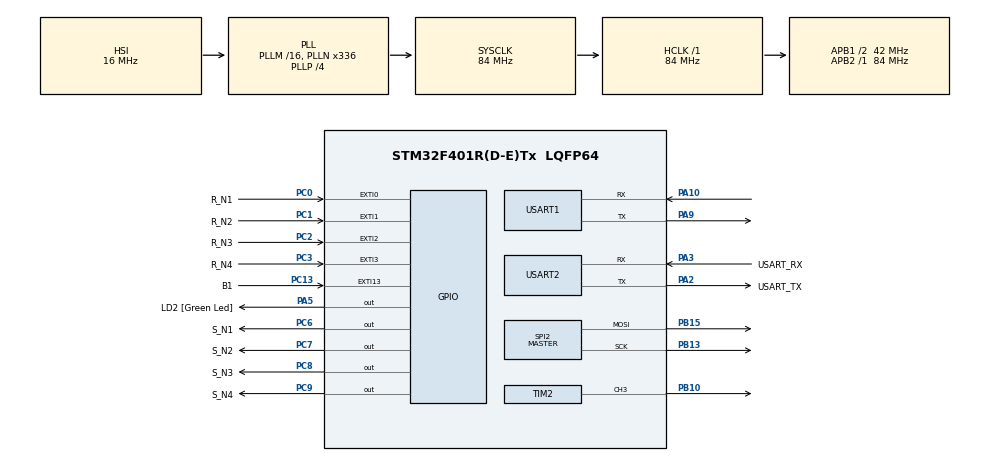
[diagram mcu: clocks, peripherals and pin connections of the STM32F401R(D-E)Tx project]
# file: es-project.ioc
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Dma.Request0=TIM2_CH3/UP
Dma.Request1=SPI2_TX
Dma.SPI2_TX.1.Direction=DMA_MEMORY_TO_PERIPH
Dma.SPI2_TX.1.FIFOMode=DMA_FIFOMODE_DISABLE
Dma.SPI2_TX.1.Instance=DMA1_Stream4
Dma.SPI2_TX.1.MemDataAlignment=DMA_MDATAALIGN_BYTE
Dma.SPI2_TX.1.MemInc=DMA_MINC_ENABLE
Dma.SPI2_TX.1.Mode=DMA_NORMAL
Dma.SPI2_TX.1.PeriphDataAlignment=DMA_PDATAALIGN_BYTE
Dma.SPI2_TX.1.PeriphInc=DMA_PINC_DISABLE
Dma.SPI2_TX.1.Priority=DMA_PRIORITY_VERY_HIGH
Dma.TIM2_CH3/UP.0.Direction=DMA_MEMORY_TO_PERIPH
Dma.TIM2_CH3/UP.0.FIFOMode=DMA_FIFOMODE_DISABLE
Dma.TIM2_CH3/UP.0.Instance=DMA1_Stream1
Dma.TIM2_CH3/UP.0.MemDataAlignment=DMA_MDATAALIGN_WORD
Dma.TIM2_CH3/UP.0.MemInc=DMA_MINC_ENABLE
Dma.TIM2_CH3/UP.0.Mode=DMA_NORMAL
Dma.TIM2_CH3/UP.0.PeriphDataAlignment=DMA_PDATAALIGN_WORD
Dma.TIM2_CH3/UP.0.PeriphInc=DMA_PINC_DISABLE
Dma.TIM2_CH3/UP.0.Priority=DMA_PRIORITY_VERY_HIGH
Mcu.Family=STM32F4
Mcu.Name=STM32F401R(D-E)Tx
Mcu.Package=LQFP64
NVIC.DMA1_Stream1_IRQn=true\:0\:0\:false\:false\:true\:false\:true\:true
NVIC.DMA1_Stream4_IRQn=true\:0\:0\:false\:false\:true\:false\:true\:true
NVIC.EXTI0_IRQn=true\:0\:0\:false\:false\:true\:true\:true\:true
NVIC.EXTI15_10_IRQn=true\:0\:0\:false\:false\:true\:true\:true\:true
NVIC.EXTI1_IRQn=true\:0\:0\:false\:false\:true\:true\:true\:true
NVIC.EXTI2_IRQn=true\:0\:0\:false\:false\:true\:true\:true\:true
NVIC.EXTI3_IRQn=true\:0\:0\:false\:false\:true\:true\:true\:true
NVIC.PriorityGroup=NVIC_PRIORITYGROUP_0
NVIC.SPI2_IRQn=true\:0\:0\:false\:false\:true\:true\:true\:true
NVIC.TIM3_IRQn=true\:0\:0\:false\:false\:true\:true\:true\:true
NVIC.USART1_IRQn=true\:0\:0\:false\:false\:true\:true\:true\:true
NVIC.USART2_IRQn=true\:0\:0\:false\:false\:true\:true\:true\:true
PA10.Mode=Asynchronous
PA10.Signal=USART1_RX
PA13.GPIO_Label=TMS
PA13.Mode=Serial_Wire
PA13.Signal=SYS_JTMS-SWDIO
PA14.GPIO_Label=TCK
PA14.Mode=Serial_Wire
PA14.Signal=SYS_JTCK-SWCLK
PA2.GPIO_Label=USART_TX
PA2.GPIO_Mode=GPIO_MODE_AF_PP
PA2.GPIO_PuPd=GPIO_NOPULL
PA2.GPIO_Speed=GPIO_SPEED_FREQ_LOW
PA2.Mode=Asynchronous
PA2.Signal=USART2_TX
PA3.GPIO_Label=USART_RX
PA3.GPIO_Mode=GPIO_MODE_AF_PP
PA3.GPIO_PuPd=GPIO_NOPULL
PA3.GPIO_Speed=GPIO_SPEED_FREQ_LOW
PA3.Mode=Asynchronous
PA3.Signal=USART2_RX
PA5.GPIO_Label=LD2 [Green Led]
PA5.GPIO_Mode=GPIO_MODE_OUTPUT_PP
PA5.GPIO_PuPd=GPIO_NOPULL
PA5.GPIO_Speed=GPIO_SPEED_FREQ_LOW
PA5.Signal=GPIO_Output
PA9.Mode=Asynchronous
PA9.Signal=USART1_TX
PB10.Signal=S_TIM2_CH3
PB13.Mode=TX_Only_Simplex_Unidirect_Master
PB13.Signal=SPI2_SCK
PB15.Mode=TX_Only_Simplex_Unidirect_Master
PB15.Signal=SPI2_MOSI
PB3.GPIO_Label=SWO
PB3.Signal=SYS_JTDO-SWO
PC0.GPIO_Label=R_N1
PC0.GPIO_PuPd=GPIO_PULLDOWN
PC0.Signal=GPXTI0
PC1.GPIO_Label=R_N2
PC1.GPIO_PuPd=GPIO_PULLDOWN
PC1.Signal=GPXTI1
PC13-ANTI_TAMP.GPIO_Label=B1
PC13-ANTI_TAMP.GPIO_ModeDefaultEXTI=GPIO_MODE_IT_FALLING
PC13-ANTI_TAMP.GPIO_PuPd=GPIO_NOPULL
PC13-ANTI_TAMP.Signal=GPXTI13
PC14-OSC32_IN.Mode=LSE-External-Oscillator
PC14-OSC32_IN.Signal=RCC_OSC32_IN
PC15-OSC32_OUT.Mode=LSE-External-Oscillator
PC15-OSC32_OUT.Signal=RCC_OSC32_OUT
PC2.GPIO_Label=R_N3
PC2.GPIO_PuPd=GPIO_PULLDOWN
PC2.Signal=GPXTI2
PC3.GPIO_Label=R_N4
PC3.GPIO_PuPd=GPIO_PULLDOWN
PC3.Signal=GPXTI3
PC6.GPIO_Label=S_N1
PC6.Signal=GPIO_Output
PC7.GPIO_Label=S_N2
PC7.Signal=GPIO_Output
PC8.GPIO_Label=S_N3
PC8.Signal=GPIO_Output
PC9.GPIO_Label=S_N4
PC9.Signal=GPIO_Output
PH0\ -\ OSC_IN.Mode=HSE-External-Oscillator
PH0\ -\ OSC_IN.Signal=RCC_OSC_IN
PH1\ -\ OSC_OUT.Mode=HSE-External-Oscillator
PH1\ -\ OSC_OUT.Signal=RCC_OSC_OUT
ProjectManager.HeapSize=0x200
ProjectManager.StackSize=0x400
ProjectManager.TargetToolchain=STM32CubeIDE
RCC.48MHZClocksFreq_Value=48000000
RCC.AHBFreq_Value=84000000
RCC.APB1CLKDivider=RCC_HCLK_DIV2
RCC.APB1Freq_Value=42000000
RCC.APB1TimFreq_Value=84000000
RCC.APB2Freq_Value=84000000
RCC.APB2TimFreq_Value=84000000
RCC.CortexFreq_Value=84000000
RCC.HCLKFreq_Value=84000000
RCC.HSE_VALUE=8000000
RCC.HSI_VALUE=16000000
RCC.PLLN=336
RCC.PLLP=RCC_PLLP_DIV4
RCC.PLLQ=7
RCC.SYSCLKFreq_VALUE=84000000
RCC.SYSCLKSource=RCC_SYSCLKSOURCE_PLLCLK
RCC.VCOOutputFreq_Value=336000000
SH.S_TIM2_CH3.0=TIM2_CH3,PWM Generation3 CH3
SPI2.BaudRatePrescaler=SPI_BAUDRATEPRESCALER_16
SPI2.Direction=SPI_DIRECTION_2LINES
SPI2.Mode=SPI_MODE_MASTER
SPI2.VirtualType=VM_MASTER
TIM2.Channel-PWM\ Generation3\ CH3=TIM_CHANNEL_3
TIM2.Period=100
TIM3.AutoReloadPreload=TIM_AUTORELOAD_PRELOAD_ENABLE
TIM3.Period=4200
TIM3.Prescaler=10000
USART1.VirtualMode=VM_ASYNC
USART2.VirtualMode=VM_ASYNC
VP_TIM2_VS_ClockSourceINT.Mode=Internal
VP_TIM3_VS_ClockSourceINT.Mode=Internal
board=NUCLEO-F401RE

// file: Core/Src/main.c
/* USER CODE BEGIN Header */
/**
  ******************************************************************************
  * @file           : main.c
  * @brief          : Main program body
  ******************************************************************************
  * @attention
  *
  * Copyright (c) 2023 STMicroelectronics.
  * All rights reserved.
  *
  * This software is licensed under terms that can be found in the LICENSE file
  * in the root directory of this software component.
  * If no LICENSE file comes with this software, it is provided AS-IS.
  *
  ******************************************************************************
  */
/* USER CODE END Header */
#include "main.h"

/* USER CODE BEGIN Includes */
#include "ws2812_SPI.h"
#include "maze.h"
#include "numbers.h"
#include "prng.h"
#include "lookup_table.h"

#include <stdbool.h>
#include <string.h>
#include <stdio.h>
/* USER CODE END Includes */

/* USER CODE BEGIN PTD */
typedef uint8_t crc;
typedef enum {FALSE, TRUE} BOOL;
enum
{
  C_BLACK,                              // do not change
  C_WHITE, C_RED, C_GREEN, C_BLUE,      // do not change
  C_CYAN, C_MAGENTA, C_YELLOW, C_BROWN, // do not change
  C_LIME, C_OLIVE, C_ORANGE, C_PINK,    // do not change
  C_PURPLE, C_TEAL, C_VIOLET, C_MAUVE,  // do not change
  C_WALL                                // add more colors as you see fit
};
/* USER CODE END PTD */

/* USER CODE BEGIN PD */
/* DEFINES */
#define MY_ADDRESS 12

# define MMCP_MASTER_ADDRESS 0
# define MMCP_VERSION 5

# define L7_PDU_size 9
# define L7_SDU_size 8
# define L7_PCI_size 1

# define L3_PDU_size 13
# define L3_SDU_size 9
# define L3_PCI_size 4

# define L2_PDU_size 14
# define L2_SDU_size 13
# define L2_PCI_size 1

# define L1_PDU_size 16
# define L1_SDU_size 14
# define L1_PCI_size 2

#define DEBOUNCE_INTERVAL 10 // button debounce time in milliseconds

// CRC defines
#define WIDTH  (8 * sizeof(crc))
#define TOPBIT (1 << (WIDTH - 1))
#define POLYNOMIAL 0x9b

/* LED stuff */
#define NEOPIXEL_ZERO 34
#define NEOPIXEL_ONE 67
#define NUM_PIXELS 8
#define DMA_BUFF_SIZE (NUM_PIXELS * 24) + 1
#define NUM_COLORS 18 // 16 pkg colors + black + wall
#define ANIMATION_DELAY_MS 60 // time in ms an animation should take // TODO: frametime
#define MAZE_WIDTH (WS2812_NUM_LEDS_X - 1)
#define MAZE_HEIGHT (WS2812_NUM_LEDS_Y - 1)

// Neighbours
// 0 if not neighbour present
#define NEIGHBOUR_ID_NORTH 0 // do not change
#define NEIGHBOUR_ID_EAST 1
#define NEIGHBOUR_ID_SOUTH 0
#define NEIGHBOUR_ID_WEST 0

// Start and exit nodes
// set to -1 for no point
#define NEIGHBOUR_NORTH_X -1
#define NEIGHBOUR_NORTH_Y -1
#define NEIGHBOUR_EAST_X 0
#define NEIGHBOUR_EAST_Y (MAZE_HEIGHT / 2)
#define NEIGHBOUR_SOUTH_X (MAZE_WIDTH / 2)
#define NEIGHBOUR_SOUTH_Y (MAZE_HEIGHT - 1)
#define NEIGHBOUR_WEST_X (MAZE_WIDTH - 1)
#define NEIGHBOUR_WEST_Y (MAZE_HEIGHT / 2)
#define STORAGE_INBOUND_X (MAZE_WIDTH / 2 - 2)
#define STORAGE_INBOUND_Y 0
#define STORAGE_OUTBOUND_X (STORAGE_INBOUND_X + 4)
#define STORAGE_OUTBOUND_Y 0

//* Packet forwarding defines *//
#define NUM_NEIGHBOURS 4
#define LAGER_SIZE 6
/* USER CODE END PD */

SPI_HandleTypeDef hspi2;
DMA_HandleTypeDef hdma_spi2_tx;

TIM_HandleTypeDef htim2;
TIM_HandleTypeDef htim3;
DMA_HandleTypeDef hdma_tim2_ch3_up;

UART_HandleTypeDef huart1;
UART_HandleTypeDef huart2;

/* USER CODE BEGIN PV */
/* GLOBALS */
uint8_t myAddress = MY_ADDRESS; // Board address

bool rx_complete = 0; // TRUE, when serial receive is complete and HAL_UART_RxCpltCallback is called
bool tx_complete = 0; // TRUE, when serial transmit is complete and HAL_UART_TxCpltCallback is called

uint8_t rx_buf[L1_PDU_size] = {0}; // receive buffer
uint8_t L1_PDU[L1_PDU_size] = {0};

uint8_t cnt = 0; // button press counter
unsigned long millis = 0; // elapsed milliseconds for button debouncing
unsigned long lastPress = 0; // time of last rising edge (button press)

/* LED stuff */
uint32_t dmaBuffer[DMA_BUFF_SIZE] = {0};
uint32_t *pBuff;
uint8_t LEDColors[17][3] = { {0, 0, 0}, {255, 255, 255},  {255, 0, 0},
		 {0, 255, 0},  {0, 0, 255},  {0, 255, 255},
		 {255, 0, 255},  {255, 255, 0},  {191, 128, 64},
		 {191, 255, 0},  {128, 128, 0},  {255, 128, 0},
		 {255, 191, 191},  {191, 0, 64},  {0, 128, 128},
		 {128, 0, 128},  {224, 176, 255} };
PixelRGB_t pixels[NUM_PIXELS] = {0};
BOOL timer_irq = FALSE; // gets set HIGH every 750ms
PixelRGB_t color[NUM_COLORS] = {
/*     B    R    G   */
    { {0,   0,   0  } }, // C_BLACK
    { {255, 255, 255} }, // C_WHITE
    { {0,   255, 0  } }, // C_RED
    { {0,   0,   255} }, // C_GREEN
    { {255, 0,   0  } }, // C_BLUE
    { {255, 0,   255} }, // C_CYAN
    { {255, 255, 0  } }, // C_MAGENTA
    { {0,   255, 255} }, // C_YELLOW
    { {64,  191, 128} }, // C_BROWN
    { {0,   191, 255} }, // C_LIME
    { {0,   128, 128} }, // C_OLIVE
    { {0,   255, 128} }, // C_ORANGE
    { {191, 255, 191} }, // C_PINK
    { {64,  191, 0  } }, // C_PURPLE
    { {128, 0,   128} }, // C_TEAL
    { {128, 128, 0  } }, // C_VIOLET
    { {128, 128, 0  } }, // C_MAUVE
    { {4,   4,   4  } }  // C_WALL
  };
PixelRGB_t darkColor[NUM_COLORS] = {
/*     B    R    G  */
  { {  0,   0,   0 } }, // C_BLACK
  { { 16,  16,  16 } }, // C_WHITE
  { {  0,  16,   0 } }, // C_RED
  { {  0,   0,  16 } }, // C_GREEN
  { { 16,   0,   0 } }, // C_BLUE
  { { 16,   0,  16 } }, // C_CYAN
  { { 16,  16,   0 } }, // C_MAGENTA
  { {  0,  16,  16 } }, // C_YELLOW
  { {  4,  12,   8 } }, // C_BROWN
  { {  0,  12,  16 } }, // C_LIME
  { {  0,   8,   8 } }, // C_OLIVE
  { {  0,  16,   8 } }, // C_ORANGE
  { { 12,  16,  12 } }, // C_PINK
  { {  4,  12,   0 } }, // C_PURPLE
  { {  8,   0,   8 } }, // C_TEAL
  { {  8,   8,   0 } }, // C_VIOLET
  { {  8,   8,   0 } }, // C_MAUVE
  { {  1,   1,   1 } }  // C_WALL
};

// Utility for ISR (not specified in SA/RT)
const uint16_t neighbourSendPins[NUM_NEIGHBOURS] = {S_N1_Pin, S_N2_Pin, S_N3_Pin, S_N4_Pin};
const uint8_t neighbourIDs[NUM_NEIGHBOURS] = {
    NEIGHBOUR_ID_NORTH,
    NEIGHBOUR_ID_EAST,
    NEIGHBOUR_ID_SOUTH,
    NEIGHBOUR_ID_WEST
}; // Input Pins are: R_N1_Pin, R_N2_Pin, R_N3_Pin, R_N4_Pin
const Point neighbourPoints[NUM_NEIGHBOURS] = {
  {NEIGHBOUR_NORTH_X, NEIGHBOUR_NORTH_Y, -1, -1},
  {NEIGHBOUR_EAST_X, NEIGHBOUR_EAST_Y, -1, -1},
  {NEIGHBOUR_SOUTH_X, NEIGHBOUR_SOUTH_Y, -1, -1},
  {NEIGHBOUR_WEST_X, NEIGHBOUR_WEST_Y, -1, -1}
};

//* Packet forwarding begin *//

// Speicher
uint8_t state;
uint8_t errorId;
uint8_t partnerId;
uint8_t packageId;
uint8_t Lager[6] = {0};
uint8_t tempLager[6] = {0};
uint8_t ApNr;

// Kontrollfluesse
BOOL receive = FALSE;
BOOL passOn = FALSE;
BOOL create = FALSE;
BOOL deliver = FALSE;
BOOL poll = FALSE;
BOOL await = FALSE;
BOOL finishedSend = FALSE;
BOOL finishedStore = FALSE;
BOOL failure = FALSE;
BOOL receivedSDU = FALSE;
BOOL GPIO_neighbour_in = FALSE;

// Zustandstyp + Zustandsvariable
typedef enum {Z_idle, Z_processing, Z_failure, Z_deliver, Z_passOn, Z_sent, Z_awaiting, Z_received} zustand_t;
zustand_t zustand;

// Aktionentyp + Aktionsvariable
typedef enum {A_idle, A_setup, A_deliver, A_passOn, A_failure, A_pulse, A_updateLager, A_await, A_create, A_handleStore, A_storeAwait, A_storeCreate, A_checkFailure} aktion_t;
aktion_t aktion;
//* Packet forwarding end *//

/* USER CODE END PV */

void SystemClock_Config(void);
static void MX_GPIO_Init(void);
static void MX_DMA_Init(void);
static void MX_USART2_UART_Init(void);
static void MX_USART1_UART_Init(void);
static void MX_TIM2_Init(void);
static void MX_TIM3_Init(void);
static void MX_SPI2_Init(void);
/* USER CODE BEGIN PFP */
void AL_UART_RxCpltCallback(UART_HandleTypeDef *huart); // TODO
void HAL_UART_TxCpltCallback(UART_HandleTypeDef *huart);
void HAL_GPIO_EXTI_Callback ( uint16_t GPIO_Pin );

void L1_receive(uint8_t L1_PDU[]);
void L2_receive(uint8_t L2_PDU[]);
void L3_receive(uint8_t L3_PDU[]);
void L7_receive(uint8_t L7_PDU[]);

void L7_send(uint8_t ApNr, uint8_t L7_SDU[]);
void L3_send(uint8_t L3_SDU[]);
void L2_send(uint8_t L2_SDU[]);
void L1_send(uint8_t L1_SDU[]);

void ApNr_42(uint8_t L7_SDU[], uint8_t L7_SDU_send[]);
void ApNr_43(uint8_t L7_SDU[], uint8_t L7_SDU_send[]);
void ApNr_50(uint8_t L7_SDU[], uint8_t L7_SDU_send[]);
void ApNr_100(uint8_t L7_SDU[], uint8_t L7_SDU_send[]);
void ApNr_101(uint8_t L7_SDU_send[]);
void ApNr_102(uint8_t L7_SDU_send[]);
void ApNr_103(uint8_t L7_SDU_send[]);

crc crcSlow(uint8_t const message[], int nBytes);

//* Packet forwarding begin *//
void stateProcessing(void);
void stateAwait(void);
void stateReceived(void);
void stateSent(void);
void stateFailure(void);
void handleStore(void);
void handleSend(void);
void updateLager(void);
void animateSend(void);
void animateReceive(void);
void animateCreate(void);
void animateDeliver(void);
void pulse(void);
void resetData(void);
//* Packet forwarding end *//

/* USER CODE END PFP */

/* USER CODE BEGIN 0 */
/* LED stuff */
void HAL_TIM_PWM_PulseFinishedCallback(TIM_HandleTypeDef *htim)
{
  HAL_TIM_PWM_Stop_DMA(htim, TIM_CHANNEL_3);
}

void writeLEDs(PixelRGB_t* pixel){
	int i,j;

	pBuff = dmaBuffer;
	  for (i = 0; i < NUM_PIXELS; i++)
	  {
		 for (j = 23; j >= 0; j--)
		 {
		   if ((pixel[i].data >> j) & 0x01)
		   {
			 *pBuff = NEOPIXEL_ONE;
		   }
		   else
		   {
			 *pBuff = NEOPIXEL_ZERO;
		   }
		   pBuff++;
	   }
	  }
	  dmaBuffer[DMA_BUFF_SIZE - 1] = 0; // last element must be 0!

	  HAL_TIM_PWM_Start_DMA(&htim2, TIM_CHANNEL_3, dmaBuffer, DMA_BUFF_SIZE);
}

void HAL_TIM_PeriodElapsedCallback(TIM_HandleTypeDef *htim){
	if(htim->Instance == TIM3){
		timer_irq = TRUE;
	}

}
//* Packet forwarding begin *//
// DFD processes //
void stateProcessing(void) {
	state = 0;
}

void stateAwait(void) {
	state = 1;
}

void stateReceived(void) {
	state = 2;
}

void stateSent(void) {
	state = 3;
}

void stateFailure(void) {
    state = 4;
}

void handleStore(void){
	int i;

	// copy Lager to tempLager
	for(i = 0; i < LAGER_SIZE; i++){
		tempLager[i] = Lager[i];
	}

	// put package in first free spot (0) in tempLager
	for(i = 0; i < LAGER_SIZE; i++){
		if(tempLager[i] == 0){
			tempLager[i] = packageId;
			break;
		}
	}

	finishedStore = TRUE;
}

void handleSend(void){
	int i;

	// copy Lager to tempLager
	for(i = 0; i < LAGER_SIZE; i++){
		tempLager[i] = Lager[i];
	}

	// delete package out of tempLager
	for(i = 0; i < LAGER_SIZE; i++){
		if(tempLager[i] == packageId){
			tempLager[i] = 0;
			break;
		}
	}

	finishedSend = TRUE;
}

void updateLager(void){
	int i;

	// copy tempLager to Lager
	for(i = 0; i < LAGER_SIZE; i++){
		Lager[i] = tempLager[i];
	}
}

void animateSend(void){
	BOOL on = FALSE;
	BOOL wait = FALSE;
    int i = 0;
	uint16_t x, y = 0;

    uint8_t startX, startY, exitX, exitY = 0;
    startX = STORAGE_OUTBOUND_X;
    startY = STORAGE_OUTBOUND_Y;

    // find partnerId in neighbourIDs to set exit
    for(i = 0; i < 4; i++){
    	if(neighbourIDs[i] == partnerId){
    		break;
    	}
    }
    exitX = neighbourPoints[i].x;
    exitY = neighbourPoints[i].y;

    // reset maze
    resetMaze(&maze, startX, startY, exitX, exitY);
    resetPath(&path);

    // generate and write maze
  	ws2812_pixel_all(&color[C_BLACK]);
    generateMaze(&maze);
	solveMaze(&maze, &path);
	for (x = 0; x < MAZE_WIDTH; x++)
	{
	  for (y = 0; y < MAZE_HEIGHT; y++)
	  {
	    if (maze.grid[y][x] == WALL) ws2812_pixel(x, y, &color[C_WALL]);
	  }
	}

	// find index of Lager, were packageId was stored
	for(i = 0; i < LAGER_SIZE; i++){
		if(Lager[i] == packageId){
			break;
		}
	}

	// turn off corresponding LED
	pixels[i+1].color.g = 0;
	pixels[i+1].color.r = 0;
	pixels[i+1].color.b = 0;
	writeLEDs(pixels);

	// blink last (outgoing) LED once
	timer_irq = FALSE;
	while(1){
		if(timer_irq && !on && !wait){
			timer_irq = FALSE;
			on = TRUE;
			pixels[7].color.g = (uint8_t)LEDColors[packageId][1]*0.1;
			pixels[7].color.r = (uint8_t)LEDColors[packageId][0]*0.1;
			pixels[7].color.b = (uint8_t)LEDColors[packageId][2]*0.1;
			writeLEDs(pixels);
		}
		if(timer_irq && on && !wait){
			timer_irq = FALSE;
			wait = TRUE;
			pixels[7].color.g = 0;
			pixels[7].color.r = 0;
			pixels[7].color.b = 0;
			writeLEDs(pixels);
		}
		if(timer_irq && wait){
			break;
		}
	}

	// display current Lager
	for(i = 0; i < LAGER_SIZE; i++){
		pixels[i+1].color.g = (uint8_t)LEDColors[tempLager[i]][1]*0.1;
		pixels[i+1].color.r = (uint8_t)LEDColors[tempLager[i]][0]*0.1;
		pixels[i+1].color.b = (uint8_t)LEDColors[tempLager[i]][2]*0.1;

	}
	writeLEDs(pixels);

    // write maze solution
    // HOTFIX: write start point at first iteration since it missing in path
    ws2812_pixel(startX, startY, &color[packageId]);
    HAL_Delay(ANIMATION_DELAY_MS);
    ws2812_pixel(startX, startY, &darkColor[packageId]);
    for (i = path.size - 1; i > -1; i--)
	{
      if (!(path.p[i].x == 0 && path.p[i].y == 0)) // (0, 0)s are invalid points for solution
      {
        ws2812_pixel(path.p[i].x, path.p[i].y, &color[packageId]); // TODO: start point is not in path
        HAL_Delay(ANIMATION_DELAY_MS);
        ws2812_pixel(path.p[i].x, path.p[i].y, &darkColor[packageId]);
      }
	}

    HAL_Delay(500);
    ws2812_pixel_all(&color[C_BLACK]);
}

void animateReceive(void){
  	BOOL on = FALSE;
	BOOL wait = FALSE;
    int i = 0;
	uint16_t x, y = 0;

    uint8_t startX, startY, exitX, exitY = 0;

    // find partnerId in neighbourIDs to set exit
    for(i = 0; i < 4; i++){
    	if(neighbourIDs[i] == partnerId){
    		break;
    	}
    }
    startX = neighbourPoints[i].x;
    startY = neighbourPoints[i].y;

    exitX = STORAGE_INBOUND_X;
    exitY = STORAGE_INBOUND_Y;

    // reset maze
    resetMaze(&maze, startX, startY, exitX, exitY);
    resetPath(&path);

    // generate and write maze
  	ws2812_pixel_all(&color[C_BLACK]);
    generateMaze(&maze);
	solveMaze(&maze, &path);
	for (x = 0; x < MAZE_WIDTH; x++)
	{
	  for (y = 0; y < MAZE_HEIGHT; y++)
	  {
	    if (maze.grid[y][x] == WALL) ws2812_pixel(x, y, &color[C_WALL]);
	  }
	}

    // write maze solution
    // HOTFIX: write start point at first iteration since it missing in path
    ws2812_pixel(startX, startY, &color[packageId]);
    HAL_Delay(ANIMATION_DELAY_MS);
    ws2812_pixel(startX, startY, &darkColor[packageId]);
    for (i = path.size - 1; i > -1; i--)
	{
      if (!(path.p[i].x == 0 && path.p[i].y == 0)) // (0, 0)s are invalid points for solution
      {
        ws2812_pixel(path.p[i].x, path.p[i].y, &color[packageId]); // TODO: start point is not in path
        HAL_Delay(ANIMATION_DELAY_MS);
        ws2812_pixel(path.p[i].x, path.p[i].y, &darkColor[packageId]);
      }
	}

	// blink first (incoming) LED once
	timer_irq = FALSE;
	while(1){
		if(timer_irq && !on && !wait){
			timer_irq = FALSE;
			on = TRUE;
			pixels[0].color.g = (uint8_t)LEDColors[packageId][1]*0.1;
			pixels[0].color.r = (uint8_t)LEDColors[packageId][0]*0.1;
			pixels[0].color.b = (uint8_t)LEDColors[packageId][2]*0.1;
			writeLEDs(pixels);
		}
		if(timer_irq && on && !wait){
			timer_irq = FALSE;
			wait = TRUE;
			pixels[0].color.g = 0;
			pixels[0].color.r = 0;
			pixels[0].color.b = 0;
			writeLEDs(pixels);
		}
		if(timer_irq && wait){
			break;
		}
	}

	// display current Lager
	for(i = 0; i < LAGER_SIZE; i++){
		pixels[i+1].color.g = (uint8_t)LEDColors[tempLager[i]][1]*0.1;
		pixels[i+1].color.r = (uint8_t)LEDColors[tempLager[i]][0]*0.1;
		pixels[i+1].color.b = (uint8_t)LEDColors[tempLager[i]][2]*0.1;
	}
	writeLEDs(pixels);

    HAL_Delay(500);
    ws2812_pixel_all(&color[C_BLACK]);
}

void animateCreate(void){
	BOOL on = FALSE;
	BOOL wait = FALSE;
	uint8_t i = 0;

	// find index of tempLager, were packageId is stored
	for(i = 0; i < LAGER_SIZE; i++){
		if(tempLager[i] == packageId){
			break;
		}
	}

	// blink corresponding LED once
	timer_irq = FALSE;
	while(1){
		if(timer_irq && !on && !wait){
			timer_irq = FALSE;
			on = TRUE;
			pixels[i+1].color.g = (uint8_t)LEDColors[packageId][1]*0.1;
			pixels[i+1].color.r = (uint8_t)LEDColors[packageId][0]*0.1;
			pixels[i+1].color.b = (uint8_t)LEDColors[packageId][2]*0.1;
			writeLEDs(pixels);
		}
		if(timer_irq && on && !wait){
			timer_irq = FALSE;
			wait = TRUE;
			pixels[i+1].color.g = 0;
			pixels[i+1].color.r = 0;
			pixels[i+1].color.b = 0;
			writeLEDs(pixels);
		}
		if(timer_irq && wait){
			break;
		}

	}

	// display current Lager
	for(i = 0; i < LAGER_SIZE; i++){
		pixels[i+1].color.g = (uint8_t)LEDColors[tempLager[i]][1]*0.1;
		pixels[i+1].color.r = (uint8_t)LEDColors[tempLager[i]][0]*0.1;
		pixels[i+1].color.b = (uint8_t)LEDColors[tempLager[i]][2]*0.1;

	}
	writeLEDs(pixels);
}

void animateDeliver(void){
	BOOL on = FALSE;
	BOOL wait = FALSE;
	uint8_t i = 0;

	// find index of Lager, were packageId was stored
	for(i = 0; i < LAGER_SIZE; i++){
		if(Lager[i] == packageId){
			break;
		}
	}

	// blink corresponding LED once
	timer_irq = FALSE;
	while(1){
		if(timer_irq && !on && !wait){
			timer_irq = FALSE;
			on = TRUE;
			pixels[i+1].color.g = (uint8_t)LEDColors[packageId][1]*0.1;
			pixels[i+1].color.r = (uint8_t)LEDColors[packageId][0]*0.1;
			pixels[i+1].color.b = (uint8_t)LEDColors[packageId][2]*0.1;
			writeLEDs(pixels);
		}
		if(timer_irq && on && !wait){
			timer_irq = FALSE;
			wait = TRUE;
			pixels[i+1].color.g = 0;
			pixels[i+1].color.r = 0;
			pixels[i+1].color.b = 0;
			writeLEDs(pixels);
		}
		if(timer_irq && wait){
			break;
		}

	}

	// display current Lager
	for(int i = 0; i < LAGER_SIZE; i++){
		pixels[i+1].color.g = (uint8_t)LEDColors[tempLager[i]][1]*0.1;
		pixels[i+1].color.r = (uint8_t)LEDColors[tempLager[i]][0]*0.1;
		pixels[i+1].color.b = (uint8_t)LEDColors[tempLager[i]][2]*0.1;

	}
	writeLEDs(pixels);
}

void pulse(void){
	uint8_t partnerNumber = 0;
	uint8_t i = 0;

	// find out number of partner
	for(i = 0; i < NUM_NEIGHBOURS; i++){
		if(neighbourIDs[i] == partnerId){
			partnerNumber = i;
			break;
		}
	}

	// toggle corresponding pin for 1ms
	HAL_GPIO_WritePin (GPIOC, neighbourSendPins[partnerNumber], GPIO_PIN_SET);
	HAL_Delay(5);
	HAL_GPIO_WritePin (GPIOC, neighbourSendPins[partnerNumber], GPIO_PIN_RESET);
}

void checkFailure(void){
	BOOL lagerFull = TRUE;
	BOOL packetInLager = FALSE;
	BOOL packetNoExist = TRUE;
	BOOL unknownNeighbour = TRUE;
	BOOL unknownPacket = FALSE;

	int i;

	// check if neighbour is known
	if(partnerId == 0){ //TODO: fixed with idle in processing, but that should not be there
		unknownNeighbour = FALSE; // neighbourId is valid
	}
	for(i = 0; i < NUM_NEIGHBOURS; i++){
		if(partnerId == neighbourIDs[i]){
			unknownNeighbour = FALSE; // neighbourId is valid
			break;
		}
	}

	if(ApNr == 42){ // create or await is set
		// check if Lager is already completely filled
		for(i = 0; i < LAGER_SIZE; i++){
			if(Lager[i] == 0){
				lagerFull = FALSE; // Lager is not completely filled
				break;
			}
		}

		packetNoExist = FALSE;
		// check if packageId is already stored in Lager
		for(i = 0; i < LAGER_SIZE; i++){
			if(Lager[i] == packageId){
				packetInLager = TRUE; // packageId already exists in Lager
				break;
			}
		}
	}

	if(ApNr == 43){ // deliver or passOn is set
		lagerFull = FALSE;

		// Check if packageId exists in Lager
		for(i = 0; i < LAGER_SIZE; i++){
			if(Lager[i] == packageId){
				packetNoExist = FALSE; // packageId does exist in Lager
			}
		}
	}

	// check if package has a valid number
	if((packageId < 0) || (packageId > 16)){
		unknownPacket = TRUE;
	}

	// set errorId according to failure
	if(packetInLager){
		failure = TRUE;
		errorId = 1;
	}
	else if(lagerFull){
		failure = TRUE;
		errorId = 2;
	}
	else if(packetNoExist){
		failure = TRUE;
		errorId = 3;
	}
	else if(unknownNeighbour){
		failure = TRUE;
		errorId = 4;
	}
	else if(unknownPacket){
		failure = TRUE;
		errorId = 5; //TODO: Minispezifikation
	}
}

void resetData(){
	packageId = 0;
	partnerId = 0;
	errorId = 0;
	receive = FALSE;
	passOn = FALSE;
	create = FALSE;
	deliver = FALSE;
	poll = FALSE;
	await = FALSE;
	ApNr = 0;
	failure = FALSE;
	finishedStore = FALSE;
	finishedSend = FALSE;
	receivedSDU = FALSE;
	GPIO_neighbour_in = FALSE;
}

// STD
void std(void){
	switch(zustand){
	case Z_idle:
		if (receivedSDU){
			aktion = A_checkFailure;
			zustand = Z_processing;
			receivedSDU = FALSE; //*
		}
		else if(poll || (!receivedSDU)){
			aktion = A_idle;
			poll = FALSE; //*
		}
		break;

	case Z_processing:
		if (create && (!failure)){ // no poll (transient state), because processing + packageId should only be reported in modes passOn and deliver
			aktion = A_create;
			zustand = Z_awaiting;
			poll = FALSE; //*
		}
		else if (await && (!failure)){ // no poll (transient state), because processing + packageId should only be reported in modes passOn and deliver
			aktion = A_await;
			zustand = Z_awaiting;
			poll = FALSE; //*
		}
		else if (deliver && (!failure)){
			aktion = A_deliver;
			zustand = Z_deliver;
		}
		else if (passOn && (!failure)){
			aktion = A_passOn;
			zustand = Z_passOn;
		}
		else if (failure){
			aktion = A_failure;
			zustand = Z_failure;
			poll = FALSE; //*
		}
		break;

	case Z_failure:
		if(poll){
			aktion = A_setup;
			zustand = Z_idle;
			poll = FALSE; //*
		}
		break;

	case Z_deliver:
		if (poll && finishedSend){
			aktion = A_updateLager;
			zustand = Z_sent;
			poll = FALSE; //*
		}
		break;

	case Z_passOn:
		if (poll && finishedSend){
			aktion = A_pulse;
			zustand = Z_sent;
			poll = FALSE; //*
		}
		break;

	case Z_sent:
		if (poll){
			aktion = A_setup;
			zustand = Z_idle;
			poll = FALSE; //*
		}
		break;

	case Z_awaiting: // TODO: no GPIO needed for going from awating to send?? maybe something to do with pull up, but it used to work?
		if (GPIO_neighbour_in && await && !finishedStore){ //TODO: SA/RT finished store
			aktion = A_handleStore;
			GPIO_neighbour_in = FALSE; //*
		}
		else if (poll && finishedStore && await){
			aktion = A_storeAwait;
			zustand = Z_received;
			poll = FALSE; //*
		}
		else if (poll && finishedStore && create){ //else if (poll && finishedStore && create && count	){
			aktion = A_storeCreate;
			zustand = Z_received;
			poll = FALSE; //*
			//count = FALSE;
		}
		break;

	case Z_received:
		if (poll){
			aktion = A_setup;
			zustand = Z_idle;
			poll = FALSE; //*
		}
		else if(!poll){
			aktion = A_idle; //*
		}
		break;
	}
}

//* Kontrollflüsse werden im Interrupt gesetzt und müssen deshalb hier zurückgesetzt werden

// PAT
void pat(void){
	switch(aktion){
	case A_setup:
		resetData(); // TODO: SA/RT
		stateProcessing();
		break;
	case A_deliver: // TODO: A_deliver and A_passOn are identical
		stateProcessing();
		handleSend();
		break;
	case A_passOn:
		stateProcessing();
		handleSend();
		break;
	case A_failure:
		stateFailure();
		break;
	case A_pulse:
		animateSend();
		//HAL_Delay(3000);
		//PixelRGB_t pixel;
		//// Access the members through the color struct
		//pixel.color.r = 0;
		//pixel.color.g = 20;
		//pixel.color.b = 20;
		pulse();
		//ws2812_pixel_all(&pixel);
		//HAL_Delay(1000);
		updateLager();
		stateSent();
		break;
	case A_updateLager:
		animateDeliver();
		updateLager();
		stateSent();
		break;
	case A_await:
		stateAwait();
		break;
	case A_create:
		stateAwait();
		handleStore();
		break;
	case A_handleStore:
		handleStore();
		break;
	case A_storeAwait:
		animateReceive();
		updateLager();
		stateReceived();
		break;
	case A_storeCreate:
		animateCreate();
		updateLager();
		stateReceived();
		break;
	case A_checkFailure:
		checkFailure();
		stateProcessing();
		break;

	case A_idle:
		break;
	}
}
//* Packet forwarding end *//
/* USER CODE END 0 */

int main(void)
{

  /* MCU Configuration--------------------------------------------------------*/

  /* Reset of all peripherals, Initializes the Flash interface and the Systick. */
  HAL_Init();

  /* Configure the system clock */
  SystemClock_Config();

  /* Initialize all configured peripherals */
  MX_GPIO_Init();
  MX_DMA_Init();
  MX_USART2_UART_Init();
  MX_USART1_UART_Init();
  MX_TIM2_Init();
  MX_TIM3_Init();
  MX_SPI2_Init();
  /* USER CODE BEGIN 2 */
	HAL_UART_Receive_IT(&huart1, rx_buf, L1_PDU_size);
    HAL_TIM_Base_Start_IT(&htim3);
    ws2812_init();
    initMaze(&maze, MAZE_HEIGHT, MAZE_WIDTH, 1, 0, MAZE_WIDTH - 2, MAZE_HEIGHT - 1);
    initPath(&path, MAZE_WIDTH * MAZE_HEIGHT);
    initPRNG(&rng, numbers, SIZE_NUMBERS);
    initLookupTable(&lookupTable, WS2812_NUM_LEDS_Y, WS2812_NUM_LEDS_X);
	// Reset LEDs
	for(int i = 0; i < NUM_PIXELS; i++){
		pixels[i].color.g = 0;
		pixels[i].color.r = 0;
		pixels[i].color.b = 0;
	}
	writeLEDs(pixels);
	// Zustandsuebergangsdiagramm reset
	zustand = Z_idle;
	aktion = A_idle;
	pat();
  /* USER CODE END 2 */

  /* Infinite loop */
	while (1)
	{

    /* USER CODE BEGIN 3 */
	  std();
	  pat();
	}
  /* USER CODE END 3 */
}

void SystemClock_Config(void)
{
  RCC_OscInitTypeDef RCC_OscInitStruct = {0};
  RCC_ClkInitTypeDef RCC_ClkInitStruct = {0};

  /** Configure the main internal regulator output voltage
  */
  __HAL_RCC_PWR_CLK_ENABLE();
  __HAL_PWR_VOLTAGESCALING_CONFIG(PWR_REGULATOR_VOLTAGE_SCALE2);

  /** Initializes the RCC Oscillators according to the specified parameters
  * in the RCC_OscInitTypeDef structure.
  */
  RCC_OscInitStruct.OscillatorType = RCC_OSCILLATORTYPE_HSI;
  RCC_OscInitStruct.HSIState = RCC_HSI_ON;
  RCC_OscInitStruct.HSICalibrationValue = RCC_HSICALIBRATION_DEFAULT;
  RCC_OscInitStruct.PLL.PLLState = RCC_PLL_ON;
  RCC_OscInitStruct.PLL.PLLSource = RCC_PLLSOURCE_HSI;
  RCC_OscInitStruct.PLL.PLLM = 16;
  RCC_OscInitStruct.PLL.PLLN = 336;
  RCC_OscInitStruct.PLL.PLLP = RCC_PLLP_DIV4;
  RCC_OscInitStruct.PLL.PLLQ = 7;
  if (HAL_RCC_OscConfig(&RCC_OscInitStruct) != HAL_OK)
  {
    Error_Handler();
  }

  /** Initializes the CPU, AHB and APB buses clocks
  */
  RCC_ClkInitStruct.ClockType = RCC_CLOCKTYPE_HCLK|RCC_CLOCKTYPE_SYSCLK
                              |RCC_CLOCKTYPE_PCLK1|RCC_CLOCKTYPE_PCLK2;
  RCC_ClkInitStruct.SYSCLKSource = RCC_SYSCLKSOURCE_PLLCLK;
  RCC_ClkInitStruct.AHBCLKDivider = RCC_SYSCLK_DIV1;
  RCC_ClkInitStruct.APB1CLKDivider = RCC_HCLK_DIV2;
  RCC_ClkInitStruct.APB2CLKDivider = RCC_HCLK_DIV1;

  if (HAL_RCC_ClockConfig(&RCC_ClkInitStruct, FLASH_LATENCY_2) != HAL_OK)
  {
    Error_Handler();
  }
}

static void MX_SPI2_Init(void)
{

  /* SPI2 parameter configuration*/
  hspi2.Instance = SPI2;
  hspi2.Init.Mode = SPI_MODE_MASTER;
  hspi2.Init.Direction = SPI_DIRECTION_2LINES;
  hspi2.Init.DataSize = SPI_DATASIZE_8BIT;
  hspi2.Init.CLKPolarity = SPI_POLARITY_LOW;
  hspi2.Init.CLKPhase = SPI_PHASE_1EDGE;
  hspi2.Init.NSS = SPI_NSS_SOFT;
  hspi2.Init.BaudRatePrescaler = SPI_BAUDRATEPRESCALER_16;
  hspi2.Init.FirstBit = SPI_FIRSTBIT_MSB;
  hspi2.Init.TIMode = SPI_TIMODE_DISABLE;
  hspi2.Init.CRCCalculation = SPI_CRCCALCULATION_DISABLE;
  hspi2.Init.CRCPolynomial = 10;
  if (HAL_SPI_Init(&hspi2) != HAL_OK)
  {
    Error_Handler();
  }

}

static void MX_TIM2_Init(void)
{

  TIM_ClockConfigTypeDef sClockSourceConfig = {0};
  TIM_MasterConfigTypeDef sMasterConfig = {0};
  TIM_OC_InitTypeDef sConfigOC = {0};

  htim2.Instance = TIM2;
  htim2.Init.Prescaler = 0;
  htim2.Init.CounterMode = TIM_COUNTERMODE_UP;
  htim2.Init.Period = 100;
  htim2.Init.ClockDivision = TIM_CLOCKDIVISION_DIV1;
  htim2.Init.AutoReloadPreload = TIM_AUTORELOAD_PRELOAD_DISABLE;
  if (HAL_TIM_Base_Init(&htim2) != HAL_OK)
  {
    Error_Handler();
  }
  sClockSourceConfig.ClockSource = TIM_CLOCKSOURCE_INTERNAL;
  if (HAL_TIM_ConfigClockSource(&htim2, &sClockSourceConfig) != HAL_OK)
  {
    Error_Handler();
  }
  if (HAL_TIM_PWM_Init(&htim2) != HAL_OK)
  {
    Error_Handler();
  }
  sMasterConfig.MasterOutputTrigger = TIM_TRGO_RESET;
  sMasterConfig.MasterSlaveMode = TIM_MASTERSLAVEMODE_DISABLE;
  if (HAL_TIMEx_MasterConfigSynchronization(&htim2, &sMasterConfig) != HAL_OK)
  {
    Error_Handler();
  }
  sConfigOC.OCMode = TIM_OCMODE_PWM1;
  sConfigOC.Pulse = 0;
  sConfigOC.OCPolarity = TIM_OCPOLARITY_HIGH;
  sConfigOC.OCFastMode = TIM_OCFAST_DISABLE;
  if (HAL_TIM_PWM_ConfigChannel(&htim2, &sConfigOC, TIM_CHANNEL_3) != HAL_OK)
  {
    Error_Handler();
  }
  HAL_TIM_MspPostInit(&htim2);

}

static void MX_TIM3_Init(void)
{

  TIM_ClockConfigTypeDef sClockSourceConfig = {0};
  TIM_MasterConfigTypeDef sMasterConfig = {0};

  htim3.Instance = TIM3;
  htim3.Init.Prescaler = 10000;
  htim3.Init.CounterMode = TIM_COUNTERMODE_UP;
  htim3.Init.Period = 4200;
  htim3.Init.ClockDivision = TIM_CLOCKDIVISION_DIV1;
  htim3.Init.AutoReloadPreload = TIM_AUTORELOAD_PRELOAD_ENABLE;
  if (HAL_TIM_Base_Init(&htim3) != HAL_OK)
  {
    Error_Handler();
  }
  sClockSourceConfig.ClockSource = TIM_CLOCKSOURCE_INTERNAL;
  if (HAL_TIM_ConfigClockSource(&htim3, &sClockSourceConfig) != HAL_OK)
  {
    Error_Handler();
  }
  sMasterConfig.MasterOutputTrigger = TIM_TRGO_RESET;
  sMasterConfig.MasterSlaveMode = TIM_MASTERSLAVEMODE_DISABLE;
  if (HAL_TIMEx_MasterConfigSynchronization(&htim3, &sMasterConfig) != HAL_OK)
  {
    Error_Handler();
  }

}

static void MX_USART1_UART_Init(void)
{

  huart1.Instance = USART1;
  huart1.Init.BaudRate = 115200;
  huart1.Init.WordLength = UART_WORDLENGTH_8B;
  huart1.Init.StopBits = UART_STOPBITS_1;
  huart1.Init.Parity = UART_PARITY_NONE;
  huart1.Init.Mode = UART_MODE_TX_RX;
  huart1.Init.HwFlowCtl = UART_HWCONTROL_NONE;
  huart1.Init.OverSampling = UART_OVERSAMPLING_16;
  if (HAL_UART_Init(&huart1) != HAL_OK)
  {
    Error_Handler();
  }

}

static void MX_USART2_UART_Init(void)
{

  huart2.Instance = USART2;
  huart2.Init.BaudRate = 115200;
  huart2.Init.WordLength = UART_WORDLENGTH_8B;
  huart2.Init.StopBits = UART_STOPBITS_1;
  huart2.Init.Parity = UART_PARITY_NONE;
  huart2.Init.Mode = UART_MODE_TX_RX;
  huart2.Init.HwFlowCtl = UART_HWCONTROL_NONE;
  huart2.Init.OverSampling = UART_OVERSAMPLING_16;
  if (HAL_UART_Init(&huart2) != HAL_OK)
  {
    Error_Handler();
  }

}

static void MX_DMA_Init(void)
{

  /* DMA controller clock enable */
  __HAL_RCC_DMA1_CLK_ENABLE();

  /* DMA interrupt init */
  /* DMA1_Stream1_IRQn interrupt configuration */
  HAL_NVIC_SetPriority(DMA1_Stream1_IRQn, 0, 0);
  HAL_NVIC_EnableIRQ(DMA1_Stream1_IRQn);
  /* DMA1_Stream4_IRQn interrupt configuration */
  HAL_NVIC_SetPriority(DMA1_Stream4_IRQn, 0, 0);
  HAL_NVIC_EnableIRQ(DMA1_Stream4_IRQn);

}

static void MX_GPIO_Init(void)
{
  GPIO_InitTypeDef GPIO_InitStruct = {0};

  /* GPIO Ports Clock Enable */
  __HAL_RCC_GPIOC_CLK_ENABLE();
  __HAL_RCC_GPIOH_CLK_ENABLE();
  __HAL_RCC_GPIOA_CLK_ENABLE();
  __HAL_RCC_GPIOB_CLK_ENABLE();

  /*Configure GPIO pin Output Level */
  HAL_GPIO_WritePin(LD2_GPIO_Port, LD2_Pin, GPIO_PIN_RESET);

  /*Configure GPIO pin Output Level */
  HAL_GPIO_WritePin(GPIOC, S_N1_Pin|S_N2_Pin|S_N3_Pin|S_N4_Pin, GPIO_PIN_RESET);

  /*Configure GPIO pin : B1_Pin */
  GPIO_InitStruct.Pin = B1_Pin;
  GPIO_InitStruct.Mode = GPIO_MODE_IT_FALLING;
  GPIO_InitStruct.Pull = GPIO_NOPULL;
  HAL_GPIO_Init(B1_GPIO_Port, &GPIO_InitStruct);

  /*Configure GPIO pins : R_N1_Pin R_N2_Pin R_N3_Pin R_N4_Pin */
  GPIO_InitStruct.Pin = R_N1_Pin|R_N2_Pin|R_N3_Pin|R_N4_Pin;
  GPIO_InitStruct.Mode = GPIO_MODE_IT_RISING;
  GPIO_InitStruct.Pull = GPIO_PULLDOWN;
  HAL_GPIO_Init(GPIOC, &GPIO_InitStruct);

  /*Configure GPIO pin : LD2_Pin */
  GPIO_InitStruct.Pin = LD2_Pin;
  GPIO_InitStruct.Mode = GPIO_MODE_OUTPUT_PP;
  GPIO_InitStruct.Pull = GPIO_NOPULL;
  GPIO_InitStruct.Speed = GPIO_SPEED_FREQ_LOW;
  HAL_GPIO_Init(LD2_GPIO_Port, &GPIO_InitStruct);

  /*Configure GPIO pins : S_N1_Pin S_N2_Pin S_N3_Pin S_N4_Pin */
  GPIO_InitStruct.Pin = S_N1_Pin|S_N2_Pin|S_N3_Pin|S_N4_Pin;
  GPIO_InitStruct.Mode = GPIO_MODE_OUTPUT_PP;
  GPIO_InitStruct.Pull = GPIO_NOPULL;
  GPIO_InitStruct.Speed = GPIO_SPEED_FREQ_LOW;
  HAL_GPIO_Init(GPIOC, &GPIO_InitStruct);

  /* EXTI interrupt init*/
  HAL_NVIC_SetPriority(EXTI0_IRQn, 0, 0);
  HAL_NVIC_EnableIRQ(EXTI0_IRQn);

  HAL_NVIC_SetPriority(EXTI1_IRQn, 0, 0);
  HAL_NVIC_EnableIRQ(EXTI1_IRQn);

  HAL_NVIC_SetPriority(EXTI2_IRQn, 0, 0);
  HAL_NVIC_EnableIRQ(EXTI2_IRQn);

  HAL_NVIC_SetPriority(EXTI3_IRQn, 0, 0);
  HAL_NVIC_EnableIRQ(EXTI3_IRQn);

  HAL_NVIC_SetPriority(EXTI15_10_IRQn, 0, 0);
  HAL_NVIC_EnableIRQ(EXTI15_10_IRQn);

}

/* USER CODE BEGIN 4 */
// Rx Transfer completed callbacks.
// Gets called when HAL_UART_Receive_IT receive is completed
void HAL_UART_RxCpltCallback(UART_HandleTypeDef *huart){
	if(huart->Instance == USART1){ // check if something was received on UART1
		for(int i = 0; i < L1_PDU_size; i++){ // copy received packet from buffer
			L1_PDU[i] = rx_buf[i];
		}
	}
  HAL_UART_Receive_IT(&huart1, rx_buf, L1_PDU_size); // Attach interrupt to receive L1_PDU from USART
  L1_receive(L1_PDU); // Pass L1_PDU to protocol stack
}

// Tx Transfer completed callbacks.
// Gets called when HAL_UART_Transmit_IT transmission is completed
void HAL_UART_TxCpltCallback(UART_HandleTypeDef *huart){
	tx_complete = 1; // packet received
}

// GPIO interrupt callback
// increments button press counter
void HAL_GPIO_EXTI_Callback(uint16_t GPIO_Pin){
	// rising edge at button pin was detected and DEBOUNCE_INTERVAL has elapsed since last rising edge
	if (GPIO_Pin == B1_Pin){
		millis = HAL_GetTick(); // get current elapsed time in milliseconds
		if((millis - lastPress) > DEBOUNCE_INTERVAL){
			cnt++;
			lastPress = millis;
		}
	}

	// rising edge at neighbour receive pin 1 was detected and packet should be received from neighbour 1
	if((GPIO_Pin == R_N1_Pin) && (neighbourIDs[0] == partnerId)){
		GPIO_neighbour_in = TRUE;
	}

	// rising edge at neighbour receive pin 1 was detected and packet should be received from neighbour 1
	if((GPIO_Pin == R_N2_Pin) && (neighbourIDs[1] == partnerId)){
		GPIO_neighbour_in = TRUE;
	}

	// rising edge at neighbour receive pin 1 was detected and packet should be received from neighbour 1
	if((GPIO_Pin == R_N3_Pin) && (neighbourIDs[2] == partnerId)){
		GPIO_neighbour_in = TRUE;
	}

	// rising edge at neighbour receive pin 1 was detected and packet should be received from neighbour 1
	if((GPIO_Pin == R_N4_Pin) && (neighbourIDs[3] == partnerId)){
		GPIO_neighbour_in = TRUE;
	}

}

/* protocol stack functions begin */
void L1_receive(uint8_t L1_PDU[]){
	// remove first (SOF) and last (EOF) byte from packet to get L1_SDU
	uint8_t L1_SDU[L1_SDU_size] = {0};

	for(int i = 0; i < L1_SDU_size; i++){
		L1_SDU[i] = L1_PDU[i+1];
	}
	L2_receive(L1_SDU); // L1_SDU = L2_PDU
}

void L2_receive(uint8_t L2_PDU[]){
	uint8_t L2_SDU[L2_SDU_size] = {0};
	uint8_t checksum = L2_PDU[13]; // last byte is checksum

	for(int i = 0; i < L2_SDU_size; i++){ // remove last byte (checksum) to get L2_SDU
		L2_SDU[i] = L2_PDU[i];
	}

	if(crcSlow(L2_SDU, L2_SDU_size) == checksum){ // checksum is valid -> pass packet to next Layer
		L3_receive(L2_SDU); // L2_SDU = L3_PDU
	} else { // checksum is invalid -> discard packet
		tx_complete = 1;
	}
}

void L3_receive(uint8_t L3_PDU[]){
	uint8_t L3_SDU[L3_SDU_size] = {0};

	for(int i = 0; i < L3_SDU_size; i++){ // remove first 4 bytes (To, From, Vers, Hops) tp get L3_SDU
		L3_SDU[i] = L3_PDU[i+4];
	}
	if(L3_PDU[0] != MMCP_MASTER_ADDRESS && L3_PDU[1] == MMCP_MASTER_ADDRESS && L3_PDU[2] == MMCP_VERSION){ // packet is not addressed to master, is from master and version is correct -> packet is valid
		if(L3_PDU[0] == myAddress){ // packet is addressed to this device -> pass packet to next Layer
			L7_receive(L3_SDU); // L3_SDU = L7_PDU)
		}
	}
	if(L3_PDU[0] != myAddress && L3_PDU[2] == MMCP_VERSION){ // packet is addressed to different device -> forward packet
		L3_PDU[3]++; // increment hop-counter
		L2_send(L3_PDU);
	}
	else if(L3_PDU[0] == MMCP_MASTER_ADDRESS && L3_PDU[1] == MMCP_MASTER_ADDRESS && L3_PDU[2] == MMCP_VERSION){ // packet is addressed from master to master (invalid) -> discard packet
		tx_complete = 1;
	}
}

void L7_receive(uint8_t L7_PDU[]){
	uint8_t L7_SDU[L7_SDU_size] = {0};
	uint8_t L7_SDU_send[L7_SDU_size] = {0}; // information to send back

	for(int i = 0; i < L7_SDU_size; i++){ // remove first byte (ApNr) to get L7_SDU
		L7_SDU[i] = L7_PDU[i+1];
	}

	// ApNr 42
	// await / create package
	// send back received L7_SDU
	if(L7_PDU[0] == 42){
		ApNr_42(L7_SDU, L7_SDU_send);
		L7_send(42, L7_SDU_send);
	}

	// ApNr 43
	// pass on / deliver package
	// send back received L7_SDU
	if(L7_PDU[0] == 43){
		ApNr_43(L7_SDU, L7_SDU_send);
		L7_send(43, L7_SDU_send);
	}

	// ApNr 50
	// poll status
	if(L7_PDU[0] == 50){
		ApNr_50(L7_SDU, L7_SDU_send);
		L7_send(50, L7_SDU_send);
	}

	// ApNr 100
	// turn on onboard LED if last byte of L7_SDU is not 0
	// send back received L7_SDU
	if(L7_PDU[0] == 100){
		ApNr_100(L7_SDU, L7_SDU_send);
		L7_send(100, L7_SDU_send);
	}

	// ApNr 101
	// ignore information in L7_SDU
	// send back button presses counter in L7_SDU[7], reset counter
	if(L7_PDU[0] == 101){
		ApNr_101(L7_SDU_send);
		L7_send(101, L7_SDU_send);
	}

	// ApNr 102
	// ignore information in L7_SDU
	// send back lower 64 bits of device UID
	if(L7_PDU[0] == 102){
		ApNr_102(L7_SDU_send);
		L7_send(102, L7_SDU_send);
	}

	// ApNr 103
	// ignore information in L7_SDU
	// send back upper bits 64 to 95 of device UID
	if(L7_PDU[0] == 103){
		ApNr_103(L7_SDU_send);
		L7_send(103, L7_SDU_send);
	}

	tx_complete = 1;  // ApNr invalid (unknown) -> discard packet
//	HAL_UART_Receive_IT(&huart1, rx_buf, L1_PDU_size); // Attach interrupt to receive L1_PDU from USART
}

void L7_send(uint8_t ApNr, uint8_t L7_SDU[]){
	uint8_t L7_PDU[L7_PDU_size] = {0};

	// copy ApNr and L7_SDU to get L7_PDU
	L7_PDU[0] = ApNr;
	for(int i = 0; i < L7_SDU_size; i++){
		L7_PDU[i+1] = L7_SDU[i];
	}

	L3_send(L7_PDU); // L7_PDU = l3_SDU
}

void L3_send(uint8_t L3_SDU[]){
	uint8_t L3_PDU[L3_PDU_size] = {0};

	L3_PDU[0] = MMCP_MASTER_ADDRESS; // To: Master
	L3_PDU[1] = myAddress; // From: device
	L3_PDU[2] = MMCP_VERSION; // protocol version
	L3_PDU[3] = 0; // Hops: 0
	for(int i = 0; i < L3_SDU_size; i++){
		L3_PDU[i+L3_PCI_size] = L3_SDU[i];
	}

	L2_send(L3_PDU); // L3_PDU = L2_SDU
}

void L2_send(uint8_t L2_SDU[]){
	uint8_t L2_PDU[L2_PDU_size] = {0};
	uint8_t checksum = 42;

	// copy L2_SDU to first 13 bytes of L2_PDU
	for(int i = 0; i < L2_SDU_size; i++){
		L2_PDU[i] = L2_SDU[i];
	}

	checksum = crcSlow(L2_SDU, L2_SDU_size); // calculate checksum
	L2_PDU[13] = checksum; // last bit is checksum

	L1_send(L2_PDU);
}

void L1_send(uint8_t L1_SDU[]){
	L1_PDU[0] = 0; // SOF: 0
	// copy L1_SDU to bytes 1...15 of L1_PDU
	for(int i = 0; i < L1_SDU_size; i++){
		L1_PDU[i+1] = L1_SDU[i];
	}
	L1_PDU[15] = 0; // EOF: 0

	HAL_UART_Transmit_IT(&huart1, L1_PDU, L1_PDU_size); // send L1_PDU over USART2 (non-blocking)
}
/* protocol stack functions end */
// ApNr 42
// await / create package
// send back received L7_SDU
void ApNr_42(uint8_t L7_SDU[], uint8_t L7_SDU_send[]){
	packageId = L7_SDU[0];
	partnerId = L7_SDU[1];

	receivedSDU = TRUE;
	ApNr = 42;

	if(partnerId != 0){ // partnerId is not 0 -> await new package
		await = TRUE;
	} else { // partnerId is 0 -> create new package
		create = TRUE;
	}

	for(int i = 0; i < L7_SDU_size; i++){ // copy L7_SDU to L7_SDU_send
		L7_SDU_send[i] = L7_SDU[i];
	}
}

// ApNr 43
// pass on / deliver package
// send back received L7_SDU
void ApNr_43(uint8_t L7_SDU[], uint8_t L7_SDU_send[]){
	packageId = L7_SDU[0];
	partnerId = L7_SDU[1];

	receivedSDU = TRUE;
	ApNr = 43;

	if(partnerId != 0){ // partnerId is not 0 -> passOn package
		passOn = TRUE;
	} else { // partnerId is 0 -> deliver package
		deliver = TRUE;
	}

	for(int i = 0; i < L7_SDU_size; i++){ // copy L7_SDU to L7_SDU_send
		L7_SDU_send[i] = L7_SDU[i];
	}
}

// ApNr 50
// poll status
void ApNr_50(uint8_t L7_SDU[], uint8_t L7_SDU_send[]){
	poll = TRUE;

	L7_SDU_send[0] = state;
	if(state == 4){ // state is failure, send errorId instead of packageId
		L7_SDU_send[1] = errorId;
	} else {
		L7_SDU_send[1] = packageId;
	}
	for(int i = 2; i < L7_SDU_size; i++){ // copy Lager to L7_SDU_send, index 2 to 7 //TODO: adapt to Lager size constant
		L7_SDU_send[i] = Lager[i-2];
	}
}

// ApNr 100
// turn on onboard LED, if last byte of L7_SDU is not 0
// send back received L7_SDU
void ApNr_100(uint8_t L7_SDU[], uint8_t L7_SDU_send[]){
	if(L7_SDU[7] != 0){
			HAL_GPIO_WritePin(GPIOA, GPIO_PIN_5, GPIO_PIN_SET);
		} else {
			HAL_GPIO_WritePin(GPIOA, GPIO_PIN_5, GPIO_PIN_RESET);
		}

		for(int i = 0; i < L7_SDU_size; i++){ // copy L7_SDU to L7_SDU_send
			L7_SDU_send[i] = L7_SDU[i];
		}
}

// ApNr 101
// ignore information in L7_SDU
// send back button presses counter in L7_SDU[7], reset counter
void ApNr_101(uint8_t L7_SDU_send[]){
	L7_SDU_send[7] = cnt; // store button presses
	cnt = 0; // reset counter
}

// ignore information in L7_SDU
// send back lower 64 bits of device UID
void ApNr_102(uint8_t L7_SDU_send[]){
	uint32_t UIDw0 = HAL_GetUIDw0(); // get bits 0 to 31
	uint32_t UIDw1 = HAL_GetUIDw1(); // get bits 32 to 63

	memcpy(L7_SDU_send, &UIDw0, 4); // copy bits 0 to 31
	memcpy(L7_SDU_send+4, &UIDw1, 4); // copy bits 32 to 63
}

// ignore information in L7_SDU
// send back upper bits 64 to 95 of device UID
void ApNr_103(uint8_t L7_SDU_send[]){
	uint32_t UIDw2 = HAL_GetUIDw2(); // get bits 64 to 95

	memcpy(L7_SDU_send, &UIDw2, 4); // copy bits 64 to 95
}

// crc algorithm
// source: https://barrgroup.com/embedded-systems/how-to/crc-calculation-c-code
crc crcSlow(uint8_t const message[], int nBytes) {
    crc  remainder = 0;

    // perform modulo-2 division, a byte at a time.
    for (int byte = 0; byte < nBytes; ++byte){

        // bring the next byte into the remainder.
        remainder ^= (message[byte] << (WIDTH - 8));

        // perform modulo-2 division, a bit at a time.
        for (uint8_t bit = 8; bit > 0; --bit){
            // try to divide the current data bit.
            if (remainder & TOPBIT){
                remainder = (remainder << 1) ^ POLYNOMIAL;
            } else {
                remainder = (remainder << 1);
            }
        }
    }

    // The final remainder is the CRC result.
    return (remainder);
}
/* USER CODE END 4 */

void Error_Handler(void)
{
  __disable_irq();
  while (1)
  {
  }
}
